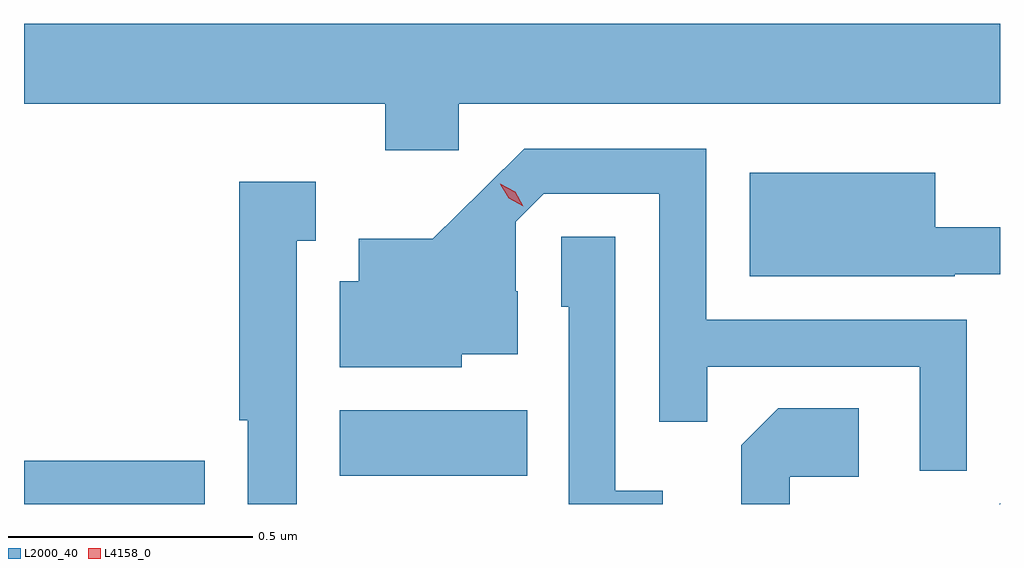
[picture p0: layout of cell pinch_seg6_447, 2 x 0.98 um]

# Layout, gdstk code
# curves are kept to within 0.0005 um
import gdstk
lib = gdstk.Library(unit=1e-6, precision=1e-09)
def R(c, l, rs):  # rectangles x0, y0, x1, y1
    for r in rs: c.add(gdstk.rectangle(r[:2], r[2:], *l))
def P(c, l, *ps):  # polygons
    for p in ps: c.add(gdstk.Polygon(p, *l))
L2000_40 = (2000, 40)
L4158_0 = (4158, 0)

pinch_seg6_447 = lib.new_cell('pinch_seg6_447')
R(pinch_seg6_447, L2000_40, [(713.925,915.879,714.295,915.968), (714.572,915.938,714.956,916.072)])
P(pinch_seg6_447, L2000_40, [(714.816,916.7),(715.925,916.7),(715.925,916.864),(713.925,916.864),(713.925,916.7),(714.665,916.7),(714.665,916.605),(714.816,916.605)],
  [(715.857,916.257),(715.323,916.257),(715.323,916.608),(714.95,916.608),(714.763,916.423),(714.611,916.423),(714.611,916.336),(714.572,916.336),(714.572,916.16),(714.822,916.16),(714.822,916.187),(714.937,916.187),(714.937,916.316),(714.933,916.316),(714.933,916.458),(714.99,916.515),(715.227,916.515),(715.227,916.048),(715.325,916.048),(715.325,916.161),(715.761,916.161),(715.761,915.948),(715.857,915.948)],
  [(715.832,916.35),(715.925,916.35),(715.925,916.447),(715.792,916.447),(715.792,916.558),(715.412,916.558),(715.412,916.346),(715.832,916.346)],
  [(714.484,916.419),(714.523,916.419),(714.523,916.54),(714.366,916.54),(714.366,916.051),(714.383,916.051),(714.383,915.879),(714.484,915.879)],
  [(715.234,915.907),(715.137,915.907),(715.137,916.427),(715.026,916.427),(715.026,916.284),(715.041,916.284),(715.041,915.879),(715.234,915.879)],
  [(715.494,915.936),(715.636,915.936),(715.636,916.076),(715.471,916.076),(715.395,916),(715.395,915.879),(715.494,915.879)],
  [(715.925,915.881),(715.923,915.879),(715.925,915.879)])
P(pinch_seg6_447, L4158_0, [(714.948,916.49),(714.918,916.506),(714.901,916.535),(714.901,916.536),(714.901,916.536),(714.932,916.52),(714.948,916.49),(714.948,916.49)])

lib.write_gds('pinch_seg6_447.gds')
